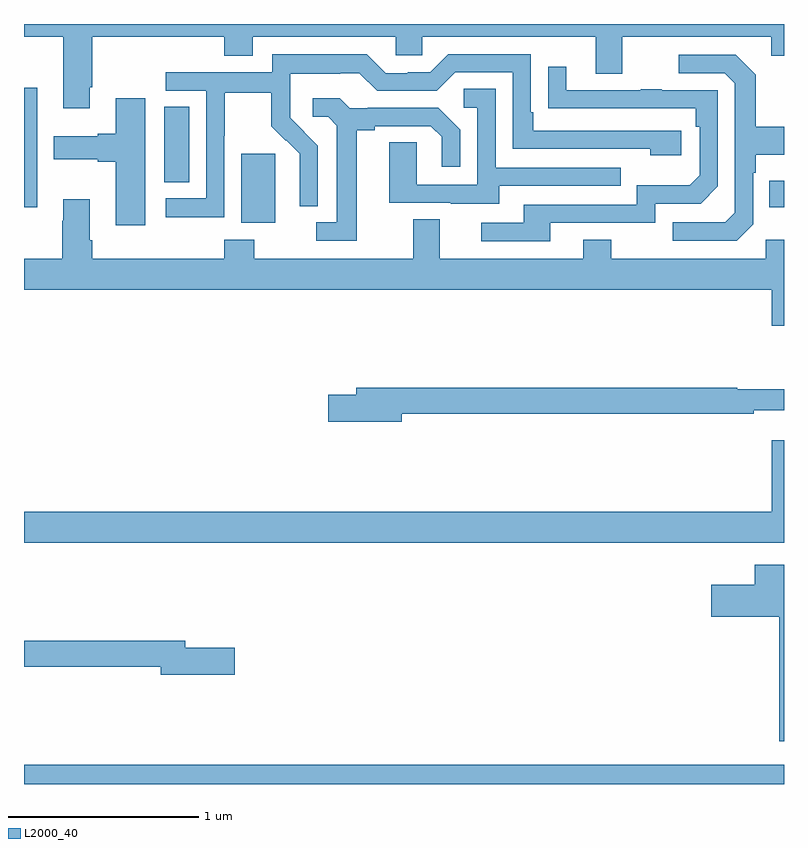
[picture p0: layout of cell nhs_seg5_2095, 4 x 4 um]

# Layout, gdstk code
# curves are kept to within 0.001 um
import gdstk
lib = gdstk.Library(unit=1e-6, precision=1e-09)
def R(c, l, rs):  # rectangles x0, y0, x1, y1
    for r in rs: c.add(gdstk.rectangle(r[:2], r[2:], *l))
def P(c, l, *ps):  # polygons
    for p in ps: c.add(gdstk.Polygon(p, *l))
L2000_40 = (2000, 40)

nhs_seg5_2095 = lib.new_cell('nhs_seg5_2095')
R(nhs_seg5_2095, L2000_40, [(233,880.799,237,880.9), (234.143,883.754,234.322,884.115), (233,883.835,233.07,884.464), (236.923,883.835,237,883.975), (233.738,883.966,233.869,884.363)])
P(nhs_seg5_2095, L2000_40, [(233.347,884.467),(233.36,884.467),(233.36,884.732),(234.053,884.732),(234.053,884.633),(234.205,884.633),(234.205,884.732),(234.957,884.732),(234.957,884.634),(235.095,884.634),(235.095,884.732),(236.009,884.732),(236.009,884.538),(236.149,884.538),(236.149,884.732),(236.933,884.732),(236.933,884.633),(237,884.633),(237,884.799),(233,884.799),(233,884.732),(233.207,884.732),(233.207,884.355),(233.347,884.355)],
  [(234.054,884.212),(234.057,884.212),(234.057,884.436),(234.301,884.436),(234.301,884.261),(234.378,884.184),(234.381,884.187),(234.452,884.117),(234.452,883.994),(234.45,883.994),(234.45,883.84),(234.546,883.84),(234.546,884.158),(234.4,884.306),(234.4,884.403),(234.402,884.403),(234.402,884.537),(234.665,884.537),(234.665,884.541),(234.765,884.541),(234.858,884.448),(235.173,884.448),(235.269,884.544),(235.572,884.544),(235.572,884.142),(236.297,884.142),(236.297,884.108),(236.458,884.108),(236.458,884.238),(235.681,884.238),(235.681,884.335),(235.668,884.335),(235.668,884.64),(235.233,884.64),(235.137,884.544),(235.019,884.544),(235.019,884.541),(234.903,884.541),(234.803,884.641),(234.306,884.641),(234.306,884.544),(233.745,884.544),(233.745,884.448),(233.958,884.448),(233.958,883.881),(233.745,883.881),(233.745,883.783),(234.054,883.783)],
  [(236.838,883.746),(236.838,884.015),(236.851,884.015),(236.851,884.111),(237,884.111),(237,884.259),(236.851,884.259),(236.851,884.531),(236.745,884.637),(236.445,884.637),(236.445,884.541),(236.688,884.541),(236.742,884.487),(236.742,883.806),(236.691,883.755),(236.415,883.755),(236.415,883.659),(236.751,883.659)],
  [(235.771,883.752),(236.322,883.752),(236.322,883.854),(236.562,883.854),(236.652,883.944),(236.652,884.451),(236.357,884.451),(236.357,884.456),(236.245,884.456),(236.245,884.451),(235.855,884.451),(235.855,884.575),(235.759,884.575),(235.759,884.356),(236.536,884.355),(236.536,884.258),(236.556,884.258),(236.556,884.004),(236.503,883.951),(236.226,883.951),(236.226,883.848),(235.631,883.848),(235.631,883.752),(235.407,883.752),(235.407,883.656),(235.771,883.656)],
  [(235.501,883.947),(236.141,883.947),(236.141,884.043),(235.482,884.043),(235.482,884.459),(235.314,884.459),(235.314,884.358),(235.386,884.358),(235.386,883.953),(235.068,883.953),(235.068,884.177),(234.923,884.177),(234.923,883.857),(235.247,883.857),(235.247,883.853),(235.501,883.853)],
  [(233.638,884.407),(233.483,884.407),(233.483,884.222),(233.387,884.222),(233.387,884.209),(233.157,884.209),(233.157,884.087),(233.387,884.087),(233.387,884.075),(233.483,884.075),(233.483,883.74),(233.638,883.74)],
  [(234.751,884.24),(234.847,884.24),(234.847,884.262),(235.142,884.262),(235.199,884.205),(235.199,884.049),(235.296,884.049),(235.296,884.242),(235.18,884.358),(234.808,884.358),(234.808,884.355),(234.714,884.355),(234.662,884.407),(234.519,884.407),(234.519,884.31),(234.6,884.31),(234.647,884.263),(234.647,883.755),(234.537,883.755),(234.537,883.659),(234.751,883.659)],
  [(237,883.663),(236.904,883.663),(236.904,883.564),(236.091,883.564),(236.091,883.663),(235.943,883.663),(235.943,883.564),(235.189,883.564),(235.189,883.772),(235.049,883.772),(235.049,883.564),(234.213,883.564),(234.213,883.663),(234.053,883.663),(234.053,883.564),(233.36,883.564),(233.36,883.66),(233.347,883.66),(233.347,883.876),(233.207,883.876),(233.207,883.763),(233.2,883.763),(233.2,883.564),(233,883.564),(233,883.4),(236.936,883.4),(236.936,883.212),(237,883.212)],
  [(234.988,882.748),(236.84,882.748),(236.84,882.767),(237,882.767),(237,882.877),(236.753,882.877),(236.753,882.884),(234.749,882.884),(234.749,882.848),(234.6,882.848),(234.6,882.706),(234.988,882.706)],
  [(237,882.607),(236.936,882.607),(236.936,882.232),(233,882.232),(233,882.068),(237,882.068)],
  [(237,881.953),(236.846,881.953),(236.846,881.848),(236.616,881.848),(236.616,881.678),(236.976,881.678),(236.976,881.025),(237,881.025)],
  [(234.109,881.516),(233.848,881.516),(233.848,881.552),(233,881.552),(233,881.416),(233.72,881.416),(233.72,881.374),(234.109,881.374)])

lib.write_gds('nhs_seg5_2095.gds')
